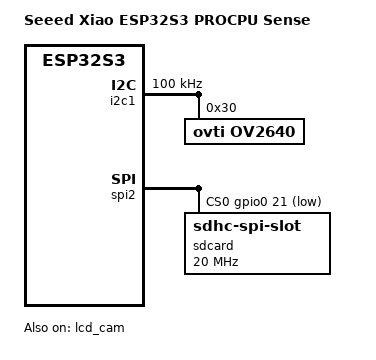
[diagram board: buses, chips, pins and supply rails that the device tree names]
/*
 * Copyright (c) 2023 Seeed Studio inc.
 *
 * SPDX-License-Identifier: Apache-2.0
 */

/dts-v1/;
#include "xiao_esp32s3_procpu_common.dtsi"
#include <espressif/partitions_0x0_amp.dtsi>

/ {
	compatible = "seeed,xiao-esp32s3";
	model = "Seeed Xiao ESP32S3 PROCPU Sense";

	chosen {
		zephyr,camera = &lcd_cam;
	};
};

&i2c1 {
	clock-frequency = <I2C_BITRATE_STANDARD>;
	pinctrl-0 = <&i2c1_default>;
	pinctrl-names = "default";
	status = "okay";

	ov2640: ov2640@30 {
		compatible = "ovti,ov2640";
		reg = <0x30>;
		clock-rate-control = <0x80>;
		status = "okay";

		port {
			ov2640_ep_out: endpoint {
				remote-endpoint-label = "dvp_ep_in";
			};
		};
	};
};

&dma {
	status = "okay";
};

&lcd_cam {
	cam-clk = <10000000>;
	pinctrl-0 = <&lcd_cam_default>;
	pinctrl-names = "default";
	source = <&ov2640>;
	dmas = <&dma 2>;
	dma-names = "rx";
	status = "okay";

	port {
		dvp_ep_in: endpoint {
			remote-endpoint-label = "ov2640_ep_out";
		};
	};
};

&spi2 {
	cs-gpios = <&gpio0 21 GPIO_ACTIVE_LOW>;
	status = "okay";

	sdcard: sdcard@0 {
		compatible = "zephyr,sdhc-spi-slot";
		reg = <0>;
		spi-max-frequency = <20000000>;
		status = "okay";

		mmc {
			compatible = "zephyr,sdmmc-disk";
			disk-name = "SD";
			status = "okay";
		};
	};
};
